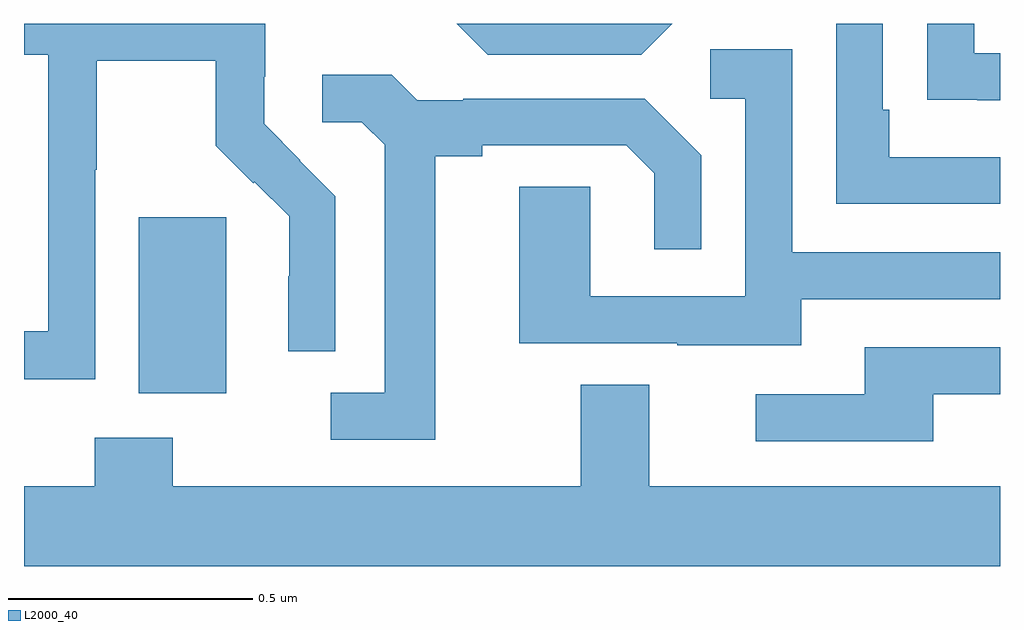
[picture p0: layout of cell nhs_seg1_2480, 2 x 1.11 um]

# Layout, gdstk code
import gdstk
lib = gdstk.Library(unit=1e-6, precision=1e-09)
def R(c, l, rs):  # rectangles x0, y0, x1, y1
    for r in rs: c.add(gdstk.rectangle(r[:2], r[2:], *l))
def P(c, l, *ps):  # polygons
    for p in ps: c.add(gdstk.Polygon(p, *l))
L2000_40 = (2000, 40)

nhs_seg1_2480 = lib.new_cell('nhs_seg1_2480')
R(nhs_seg1_2480, L2000_40, [(142.235,529.442,142.414,529.803)])
P(nhs_seg1_2480, L2000_40, [(142.146,529.9),(142.149,529.9),(142.149,530.124),(142.393,530.124),(142.393,529.949),(142.47,529.872),(142.473,529.875),(142.544,529.805),(142.544,529.682),(142.542,529.682),(142.542,529.528),(142.638,529.528),(142.638,529.846),(142.565,529.919),(142.566,529.92),(142.492,529.994),(142.492,530.091),(142.494,530.091),(142.494,530.199),(142,530.199),(142,530.136),(142.05,530.136),(142.05,529.569),(142,529.569),(142,529.471),(142.146,529.471)],
  [(143.328,530.199),(142.887,530.199),(142.95,530.136),(143.265,530.136)],
  [(144,529.926),(143.773,529.926),(143.773,530.023),(143.76,530.023),(143.76,530.199),(143.664,530.199),(143.664,529.83),(144,529.83)],
  [(144,530.139),(143.947,530.139),(143.947,530.199),(143.851,530.199),(143.851,530.044),(143.953,530.044),(143.953,530.043),(144,530.043)],
  [(143.593,529.635),(144,529.635),(144,529.731),(143.574,529.731),(143.574,530.147),(143.406,530.147),(143.406,530.046),(143.478,530.046),(143.478,529.641),(143.16,529.641),(143.16,529.865),(143.015,529.865),(143.015,529.545),(143.339,529.545),(143.339,529.541),(143.593,529.541)],
  [(142.843,529.928),(142.939,529.928),(142.939,529.95),(143.234,529.95),(143.291,529.893),(143.291,529.737),(143.388,529.737),(143.388,529.93),(143.272,530.046),(142.9,530.046),(142.9,530.043),(142.806,530.043),(142.754,530.095),(142.611,530.095),(142.611,529.998),(142.692,529.998),(142.739,529.951),(142.739,529.443),(142.629,529.443),(142.629,529.347),(142.843,529.347)],
  [(143.863,529.44),(144,529.44),(144,529.536),(143.723,529.536),(143.723,529.44),(143.499,529.44),(143.499,529.344),(143.863,529.344)],
  [(144,529.252),(143.281,529.252),(143.281,529.46),(143.141,529.46),(143.141,529.252),(142.305,529.252),(142.305,529.351),(142.145,529.351),(142.145,529.252),(142,529.252),(142,529.088),(144,529.088)])

lib.write_gds('nhs_seg1_2480.gds')
